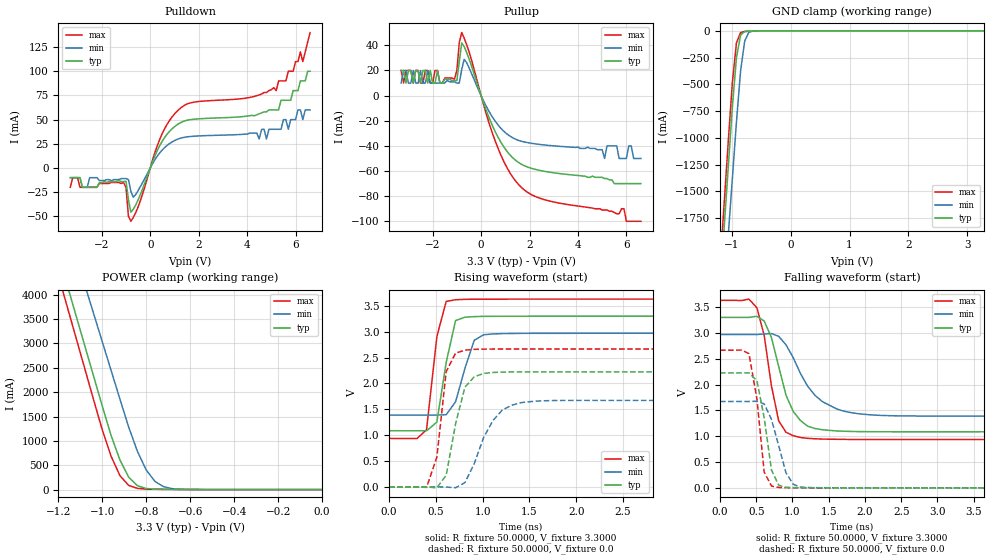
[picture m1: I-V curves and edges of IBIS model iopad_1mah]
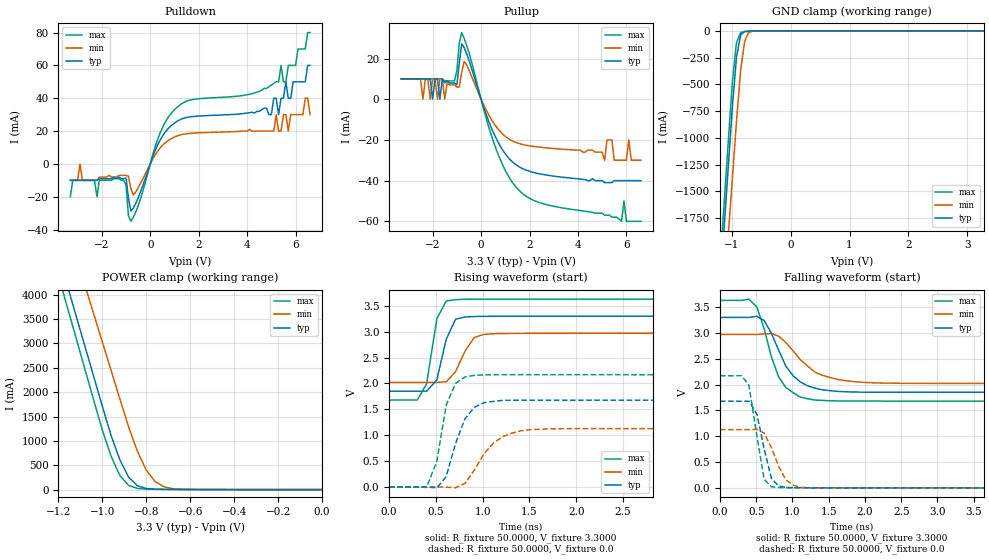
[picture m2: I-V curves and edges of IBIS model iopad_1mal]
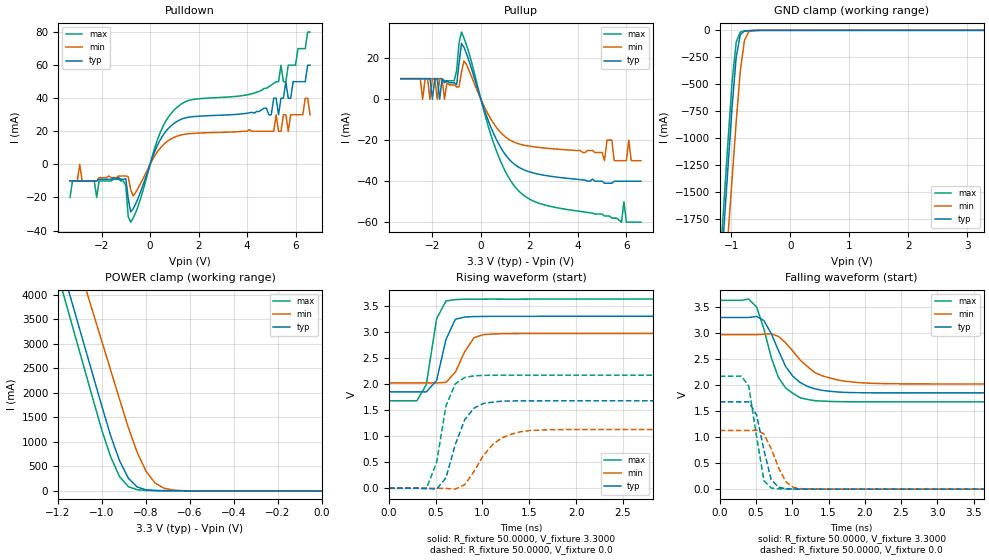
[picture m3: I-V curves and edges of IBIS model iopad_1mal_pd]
| IBIS file ip1001_33.ibs created by s2ibis3 verion 1.1
| North Carolina State University, ERL, 2006
[IBIS ver] 3.2
[File name] ip1001_33.ibs
[File Rev] 1.0
[Date]  2007 2 5
[Source] From IC Plus Inc.
[Notes]  File created by chang_dy.
[Disclaimer]  IC PLUS Corp. ("IC+") hereby grants the user of this
   IBIS model a non-exclusive, nontransferable license to use
   this IBIS model under the following terms. The user is granted
   this license only to use the IBIS model and is not granted
   rights to sell, copy (except as needed to run the IBIS model),
   rent, lease or sub-license the IBIS model in whole or in part,
   or in modified form to anyone. The User may modify the IBIS
   model to suit its specific applications, but rights to derivative
   works and such modifications shall belong to IC+. This
   IBIS model is provided on an AS IS" basis and IC+ makes absolutely
   no warranty with respect to the information contained
   herein. IC+ DISCLAIMS AND CUSTOMER WAIVES ALL WARRANTIES, EXPRESS
   AND IMPLIED, INCLUDING WARRANTIES OF MERCHANTABILITY AND
   FITNESS FOR A PARTICULAR PURPOSE. THE ENTIRE RISK AS TO QUALITY
   AND PERFORMANCE IS WITH THE USER ACCORDINGLY, IN NO EVENT
   SHALL IC+ BE LIABLE FOR ANY DIRECT OR INDIRECT DAMAGES, WHETHER
   IN CONTRACT OR TORT, INCLUDING ANY LOST PROFITS OR OTHER
   INCIDENTAL, CONSEQUENTIAL, EXEMPLARY, OR PUNITIVE DAMAGES ARISING
   OUT OF THE USE OR APPLICATION OF THE IBIS model. Further,
   IC+ reserves the right to make changes without notice to any
   product herein to improve
[Copyright] Copyright 2005, IC PLUS, Corp. all rights
|   Component IP1001
[Component] IP1001
[Manufacturer] IC PLUS Corp.
[Package]
| variable   typ   min   max
R_pkg   0.1500   0.1425   0.1575
L_pkg   1.9000nH   1.8050nH   1.9950nH
C_pkg   0.3500pF   0.3300pF   0.3700pF
[Pin]  signal_name   model_name   R_pin   L_pin   C_pin
1	TXD4		iopad_1mal
2	TXD5		iopad_1mal
3	DVDD		NC
4	TXD6		iopad_1mal
5	TXD7		iopad_1mal
6	TX_ER		iopad_1mal
7	CRS		iopad_1mal_pd
8	COL		iopad_1mal_pd
9	VDDO		POWER
10	CLK_OUT		iopad_12ma
11	MDC		iopad_1mal
12	MDIO		iopad_1mal
13	LED0		iopad_si_4ma
14	LED1		iopad_si_4ma
15	LED2		iopad_si_4ma
16	CTRL21		NC
17	R_SET		NC
18	MDI0P		NC
19	MDI0M		NC
20	AVDD		NC
21	MDI1P		NC
22	MDI1M		NC
23	AVDD		NC
24	AVDDH		NC
25	CAP		NC
26	MDI2P		NC
27	MDI2M		NC
28	AVDD		NC
29	MDI3P		NC
30	MDI3M		NC
31	AVDD		NC
32	CTRL12D		NC
33	X1		NC
34	X2		NC
35	RESET_		NC
36	RGMII_N		iopad_1mal_pd
37	NC_TEST		iopad_1mal_pd
38	DVDD		NC
39	RX_CLK		iopad_12ma
40	RX_DV		iopad_12ma
41	RXD0		iopad_12ma
42	RXD1		iopad_12ma
43	VDDO		POWER
44	RXD2		iopad_12ma
45	RXD3		iopad_12ma
46	DVDD		NC
47	VDDO		POWER
48	RXD4		iopad_12ma
49	RXD5		iopad_12ma
50	RXD6		iopad_12ma
51	RXD7		iopad_12ma
52	VDDO		POWER
53	RX_ER		iopad_12ma
54	DVDD		NC
55	TX_CLK		iopad_1mah
56	VDDO		POWER
57	GTX_CLK		iopad_1mal
58	TX_EN		iopad_1mal
59	TXD0		iopad_1mal
60	TXD1		iopad_1mal
61	TXD2		iopad_1mal
62	TXD3		iopad_1mal
63	DVDD		NC
64	VDDO		POWER
| Models and submodels in the file (9): iopad_1mah (I/O), iopad_1mal (I/O), iopad_1mal_pd (I/O), iopad_2ma (I/O), iopad_4ma (I/O), iopad_8ma (I/O), iopad_12ma (I/O), iopad_si_4ma (I/O), iopad_si_8ma (I/O)
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|   Model iopad_1mah
[Model]  iopad_1mah
Model_type I/O
Polarity   Non-Inverting
Enable   Active-Low
Vinl =   0.8000V
Vinh =   1.8000V
Vmeas =  1.2500V
C_comp   0.3000pF   0.2400pF   0.3600pF
[Temperature Range]   27.0000   100.0000   0.0
[Voltage Range]   3.3000V   2.9700V   3.6300V
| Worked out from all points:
|   slope of the pulldown table from 0 to 0.495 V, typ, clamps not added: 17.9 ohm
|   slope of the pullup table from 0 to 0.495 V, typ, clamps not added: 19.8 ohm
|   GND clamp passes 1 mA (typ) near -0.63 V on its own axis
|   POWER clamp passes 1 mA (typ) near -0.57 V on its own axis
|   rising waveform, R_fixture 50.0000, V_fixture 3.3000: 20-80 % time 132ps typ, 158ps min, 115ps max; typ from 1.08 V to 3.3 V
|   rising waveform, R_fixture 50.0000, V_fixture 0.0: 20-80 % time 157ps typ, 258ps min, 102ps max; typ from 0 V to 2.22 V
|   falling waveform, R_fixture 50.0000, V_fixture 3.3000: 20-80 % time 275ps typ, 426ps min, 200ps max; typ from 3.3 V to 1.08 V
|   falling waveform, R_fixture 50.0000, V_fixture 0.0: 20-80 % time 149ps typ, 195ps min, 136ps max; typ from 2.22 V to 0 V
[Pulldown]
|Voltage   I(typ)   I(min)   I(max)
-3.3V     -10mA      -10mA      -20mA
-1.1V     -14mA      -11mA      -15mA
-1V       -13.8mA    -11mA      -20.3mA
-900mV    -32.9mA    -12mA      -49.86mA
-800mV    -45.69mA   -24.1mA    -55.12mA
400mV     23.52mA    15.83mA    30.06mA
1.1V      44.55mA    29.42mA    58.46mA
5.2V      60mA       40mA       80mA
5.7V      70mA       40mA       100mA
6.2V      90mA       60mA       120mA
6.3V      90mA       50mA       110mA
6.6V      100mA      60mA       140mA
[Pullup]
|Voltage   I(typ)   I(min)   I(max)
-3.3V     20mA       10mA       20mA
-3.2V     20mA       20mA       10mA
-3.1V     10mA       20mA       20mA
-3V       20mA       10mA       20mA
-2.8V     10mA       20mA       10mA
-1.1V     12mA       11mA       13mA
-1V       12mA       10mA       20mA
-800mV    41.96mA    20.7mA     50.17mA
-600mV    34.6mA     26.41mA    40.77mA
600mV     -29.28mA   -20.76mA   -36.96mA
1.6V      -53.85mA   -35.94mA   -71.78mA
6.6V      -70mA      -50mA      -100mA
[GND_clamp]
|Voltage   I(typ)   I(min)   I(max)
-3.3V     -19.41A    -18.96A    -19.6A
-1.2V     -2.411A    -2.98A     -2.198A
-1.13V    -1.844A    -2.447A    -1.618A
-1.06V    -1.278A    -1.914A    -1.038A
-990mV    -713.1mA   -1.382A    -481.3mA
-920mV    -248.8mA   -849.4mA   -111.1mA
-850mV    -39.02mA   -373.5mA   -15.88mA
-780mV    -6.109mA   -94.67mA   -6.703mA
-710mV    -2.353mA   -14.34mA   -4.375mA
-640mV    -1.103mA   -2.066mA   -2.655mA
3.28V     43.51pA    3.97uA     -63.91pA
[POWER_clamp]
|Voltage   I(typ)   I(min)   I(max)
-3.28V    37.2A      36.47A     37.52A
-1.2V     4.828A     5.969A     4.4A
-1.16V    4.205A     5.382A     3.763A
-1.12V    3.582A     4.796A     3.126A
-1.08V    2.96A      4.209A     2.489A
-1.04V    2.337A     3.622A     1.852A
-960mV    1.113A     2.449A     685.8mA
-920mV    611.4mA    1.862A     288.4mA
-840mV    79.46mA    783.6mA    24.69mA
-760mV    7.994mA    166.4mA    7.074mA
-640mV    2.007mA    6.178mA    3.575mA
0V        106.5pA    303.7pA    167.4pA
[Ramp]
| variable   typ   min   max
dV/dt_r  1.3344/0.1570n   1.0032/0.2581n   1.5996/0.1013n
dV/dt_f  1.3290/0.2752n   0.9492/0.4259n   1.6162/0.2001n
R_load = 50.0000
[Rising Waveform]
R_fixture= 50.0000
V_fixture= 3.3000
V_fixture_min= 2.9700
V_fixture_max= 3.6300
|time   V(typ)   V(min)   V(max)
0s        1.085V     1.388V     936.4mV
300ps     1.085V     1.388V     937.1mV
400ps     1.085V     1.388V     1.107V
510ps     1.252V     1.388V     2.906V
610ps     2.409V     1.396V     3.586V
710ps     3.215V     1.645V     3.618V
810ps     3.281V     2.29V      3.626V
910ps     3.292V     2.835V     3.628V
1.11ns    3.298V     2.957V     3.629V
10ns      3.3V       2.97V      3.63V
[Rising Waveform]
R_fixture= 50.0000
V_fixture= 0.0
V_fixture_min= 0.0
V_fixture_max= 0.0
|time   V(typ)   V(min)   V(max)
0s        0V         0V         0V
400ps     615.2uV    -7.347uV   -10.03mV
510ps     -18.77mV   196uV      575.4mV
610ps     225.7mV    -3.302mV   2.23V
710ps     1.218V     -16.78mV   2.585V
810ps     1.928V     83.27mV    2.643V
1.11ns    2.212V     1.284V     2.665V
1.31ns    2.222V     1.579V     2.666V
1.52ns    2.222V     1.65V      2.666V
10ns      2.224V     1.672V     2.666V
[Falling Waveform]
R_fixture= 50.0000
V_fixture= 3.3000
V_fixture_min= 2.9700
V_fixture_max= 3.6300
|time   V(typ)   V(min)   V(max)
0s        3.3V       2.97V      3.63V
510ps     3.322V     2.969V     3.485V
610ps     3.23V      2.979V     2.951V
710ps     2.911V     2.988V     1.975V
810ps     2.352V     2.934V     1.298V
910ps     1.797V     2.771V     1.077V
1.11ns    1.304V     2.216V     975.4mV
1.41ns    1.126V     1.672V     944.9mV
2.12ns    1.087V     1.41V      936.5mV
10ns      1.085V     1.388V     936.3mV
[Falling Waveform]
R_fixture= 50.0000
V_fixture= 0.0
V_fixture_min= 0.0
V_fixture_max= 0.0
|time   V(typ)   V(min)   V(max)
0s        2.224V     1.672V     2.666V
400ps     2.226V     1.672V     2.597V
510ps     2.075V     1.677V     1.718V
610ps     1.358V     1.625V     304.7mV
710ps     348mV      1.328V     35.55mV
810ps     51.26mV    817.2mV    7.902mV
910ps     9.911mV    293.8mV    4.217mV
1.01ns    5.257mV    70.71mV    2.311mV
1.11ns    3.125mV    14.54mV    1.375mV
10ns      0V         0V         1.181uV
|   Model iopad_1mal
[Model]  iopad_1mal
Model_type I/O
Polarity   Non-Inverting
Enable   Active-Low
Vinl =   0.8000V
Vinh =   1.8000V
Vmeas =  1.2500V
C_comp   0.3000pF   0.2400pF   0.3600pF
[Temperature Range]   27.0000   100.0000   0.0
[Voltage Range]   3.3000V   2.9700V   3.6300V
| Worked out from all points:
|   slope of the pulldown table from 0 to 0.495 V, typ, clamps not added: 29.6 ohm
|   slope of the pullup table from 0 to 0.495 V, typ, clamps not added: 31 ohm
|   GND clamp passes 1 mA (typ) near -0.63 V on its own axis
|   POWER clamp passes 1 mA (typ) near -0.57 V on its own axis
|   rising waveform, R_fixture 50.0000, V_fixture 3.3000: 20-80 % time 131ps typ, 168ps min, 102ps max; typ from 1.85 V to 3.3 V
|   rising waveform, R_fixture 50.0000, V_fixture 0.0: 20-80 % time 191ps typ, 286ps min, 150ps max; typ from 0 V to 1.68 V
|   falling waveform, R_fixture 50.0000, V_fixture 3.3000: 20-80 % time 331ps typ, 429ps min, 276ps max; typ from 3.3 V to 1.85 V
|   falling waveform, R_fixture 50.0000, V_fixture 0.0: 20-80 % time 161ps typ, 217ps min, 150ps max; typ from 1.68 V to 0 V
[Pulldown]
|Voltage   I(typ)   I(min)   I(max)
-3.3V     -10mA      -10mA      -20mA
-1.1V     -9mA       -7mA       -10mA
-800mV    -28.77mA   -15.1mA    -34.95mA
1V        24.91mA    16.38mA    32.98mA
5.1V      40mA       20mA       49mA
5.2V      40mA       30mA       50mA
5.3V      30mA       20mA       50mA
5.6V      50mA       30mA       50mA
5.7V      40mA       20mA       60mA
5.8V      40mA       30mA       60mA
6.4V      50mA       40mA       70mA
6.6V      60mA       30mA       80mA
[Pullup]
|Voltage   I(typ)   I(min)   I(max)
-3.3V     10mA       10mA       10mA
-2.4V     10mA       0A         10mA
-1.7V     0A         10mA       10mA
-1.1V     8mA        7mA        9mA
-800mV    27.24mA    13.3mA     32.76mA
600mV     -18.69mA   -13.07mA   -23.83mA
1.5V      -32.69mA   -21.53mA   -43.96mA
5.8V      -40mA      -30mA      -60mA
5.9V      -40mA      -30mA      -50mA
6V        -40mA      -30mA      -60mA
6.1V      -40mA      -20mA      -60mA
6.6V      -40mA      -30mA      -60mA
[GND_clamp]
|Voltage   I(typ)   I(min)   I(max)
-3.3V     -19.41A    -18.96A    -19.6A
-1.2V     -2.411A    -2.98A     -2.198A
-1.13V    -1.844A    -2.447A    -1.618A
-1.06V    -1.278A    -1.914A    -1.038A
-990mV    -713.1mA   -1.382A    -481.3mA
-920mV    -248.8mA   -849.4mA   -111.1mA
-850mV    -39.02mA   -373.5mA   -15.88mA
-780mV    -6.109mA   -94.67mA   -6.703mA
-710mV    -2.353mA   -14.34mA   -4.375mA
-640mV    -1.103mA   -2.066mA   -2.655mA
3.28V     43.51pA    3.97uA     -63.91pA
[POWER_clamp]
|Voltage   I(typ)   I(min)   I(max)
-3.28V    37.2A      36.47A     37.52A
-1.2V     4.828A     5.969A     4.4A
-1.16V    4.205A     5.382A     3.763A
-1.12V    3.582A     4.796A     3.126A
-1.08V    2.96A      4.209A     2.489A
-1.04V    2.337A     3.622A     1.852A
-960mV    1.113A     2.449A     685.8mA
-920mV    611.4mA    1.862A     288.4mA
-840mV    79.46mA    783.6mA    24.69mA
-760mV    7.994mA    166.4mA    7.074mA
-640mV    2.007mA    6.178mA    3.575mA
0V        106.5pA    303.7pA    167.4pA
[Ramp]
| variable   typ   min   max
dV/dt_r  1.0068/0.1911n   0.6768/0.2863n   1.3026/0.1491n
dV/dt_f  0.8700/0.3310n   0.5688/0.4286n   1.1706/0.2762n
R_load = 50.0000
[Rising Waveform]
R_fixture= 50.0000
V_fixture= 3.3000
V_fixture_min= 2.9700
V_fixture_max= 3.6300
|time   V(typ)   V(min)   V(max)
0s        1.85V      2.022V     1.679V
300ps     1.85V      2.022V     1.68V
400ps     1.85V      2.022V     1.99V
510ps     2.069V     2.022V     3.253V
610ps     2.855V     2.032V     3.594V
710ps     3.242V     2.228V     3.62V
810ps     3.285V     2.622V     3.627V
910ps     3.294V     2.889V     3.629V
1.11ns    3.299V     2.96V      3.63V
10ns      3.3V       2.97V      3.63V
[Rising Waveform]
R_fixture= 50.0000
V_fixture= 0.0
V_fixture_min= 0.0
V_fixture_max= 0.0
|time   V(typ)   V(min)   V(max)
0s        0V         0V         0V
400ps     680uV      -7.109uV   -9.09mV
510ps     -17.12mV   197.9uV    497.6mV
610ps     202.2mV    -3.073mV   1.583V
710ps     842.7mV    -15.45mV   2.003V
810ps     1.316V     68.82mV    2.126V
910ps     1.538V     323.1mV    2.157V
1.21ns    1.673V     969.7mV    2.17V
1.52ns    1.677V     1.109V     2.17V
10ns      1.678V     1.128V     2.171V
[Falling Waveform]
R_fixture= 50.0000
V_fixture= 3.3000
V_fixture_min= 2.9700
V_fixture_max= 3.6300
|time   V(typ)   V(min)   V(max)
0s        3.3V       2.97V      3.63V
400ps     3.3V       2.97V      3.654V
510ps     3.321V     2.969V     3.5V
610ps     3.239V     2.98V      3.076V
710ps     2.992V     2.986V     2.535V
810ps     2.665V     2.937V     2.145V
1.01ns    2.168V     2.651V     1.84V
1.31ns    1.93V      2.241V     1.701V
2.22ns    1.851V     2.03V      1.68V
10ns      1.85V      2.022V     1.679V
[Falling Waveform]
R_fixture= 50.0000
V_fixture= 0.0
V_fixture_min= 0.0
V_fixture_max= 0.0
|time   V(typ)   V(min)   V(max)
0s        1.678V     1.128V     2.171V
300ps     1.677V     1.128V     2.172V
400ps     1.679V     1.127V     1.982V
510ps     1.423V     1.132V     997.9mV
610ps     751.8mV    1.06V      163.4mV
710ps     180.3mV    778.3mV    21.48mV
810ps     38.52mV    416.7mV    6.694mV
910ps     7.591mV    153.5mV    3.571mV
1.11ns    2.028mV    9.762mV    930.6uV
10ns      2.079uV    -3.533uV   -2.391uV
|   Model iopad_1mal_pd
[Model]  iopad_1mal_pd
Model_type I/O
Polarity   Non-Inverting
Enable   Active-Low
Vinl =   0.8000V
Vinh =   1.8000V
Vmeas =  1.2500V
C_comp   0.3000pF   0.2400pF   0.3600pF
[Temperature Range]   27.0000   100.0000   0.0
[Voltage Range]   3.3000V   2.9700V   3.6300V
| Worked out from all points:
|   slope of the pulldown table from 0 to 0.495 V, typ, clamps not added: 29.6 ohm
|   slope of the pullup table from 0 to 0.495 V, typ, clamps not added: 31 ohm
|   GND clamp passes 1 mA (typ) near -0.63 V on its own axis
|   POWER clamp passes 1 mA (typ) near -0.57 V on its own axis
|   rising waveform, R_fixture 50.0000, V_fixture 3.3000: 20-80 % time 131ps typ, 168ps min, 102ps max; typ from 1.85 V to 3.3 V
|   rising waveform, R_fixture 50.0000, V_fixture 0.0: 20-80 % time 191ps typ, 286ps min, 150ps max; typ from 0 V to 1.68 V
|   falling waveform, R_fixture 50.0000, V_fixture 3.3000: 20-80 % time 331ps typ, 429ps min, 276ps max; typ from 3.3 V to 1.85 V
|   falling waveform, R_fixture 50.0000, V_fixture 0.0: 20-80 % time 161ps typ, 214ps min, 150ps max; typ from 1.68 V to 0 V
[Pulldown]
|Voltage   I(typ)   I(min)   I(max)
-3.3V     -10mA      -10mA      -20mA
-1.1V     -9mA       -7mA       -10mA
-800mV    -28.77mA   -15.1mA    -34.94mA
1V        24.89mA    16.37mA    32.95mA
5.1V      40mA       20mA       49mA
5.2V      40mA       30mA       50mA
5.3V      30mA       20mA       50mA
5.6V      50mA       30mA       50mA
5.7V      40mA       20mA       60mA
5.8V      40mA       30mA       60mA
6.4V      50mA       40mA       70mA
6.6V      60mA       30mA       80mA
[Pullup]
|Voltage   I(typ)   I(min)   I(max)
-3.3V     10mA       10mA       10mA
-2.4V     10mA       0A         10mA
-1.7V     0A         10mA       10mA
-1.1V     8mA        7mA        9mA
-800mV    27.22mA    13.3mA     32.73mA
600mV     -18.72mA   -13.08mA   -23.87mA
1.5V      -32.72mA   -21.54mA   -44mA
5.8V      -40mA      -30mA      -60mA
5.9V      -40mA      -30mA      -50mA
6V        -40mA      -30mA      -60mA
6.1V      -40mA      -20mA      -60mA
6.6V      -40mA      -30mA      -60mA
[GND_clamp]
|Voltage   I(typ)   I(min)   I(max)
-3.3V     -19.41A    -18.96A    -19.6A
-1.2V     -2.411A    -2.98A     -2.198A
-1.13V    -1.844A    -2.447A    -1.618A
-1.06V    -1.278A    -1.914A    -1.038A
-990mV    -713.1mA   -1.382A    -481.3mA
-920mV    -248.8mA   -849.4mA   -111.1mA
-850mV    -39.03mA   -373.5mA   -15.89mA
-780mV    -6.114mA   -94.67mA   -6.707mA
-710mV    -2.359mA   -14.34mA   -4.38mA
-640mV    -1.11mA    -2.069mA   -2.661mA
3.28V     28.77uA    18.68uA    44.83uA
[POWER_clamp]
|Voltage   I(typ)   I(min)   I(max)
-3.28V    37.2A      36.47A     37.52A
-1.2V     4.828A     5.969A     4.4A
-1.16V    4.205A     5.382A     3.763A
-1.12V    3.582A     4.796A     3.126A
-1.08V    2.96A      4.209A     2.489A
-1.04V    2.337A     3.622A     1.852A
-960mV    1.113A     2.449A     685.8mA
-920mV    611.4mA    1.862A     288.5mA
-840mV    79.58mA    783.6mA    24.72mA
-760mV    8.015mA    166.4mA    7.116mA
-640mV    2.035mA    6.188mA    3.62mA
0V        28.77uA    14.71uA    44.87uA
[Ramp]
| variable   typ   min   max
dV/dt_r  1.0068/0.1911n   0.6768/0.2863n   1.3026/0.1491n
dV/dt_f  0.8700/0.3310n   0.5688/0.4286n   1.1706/0.2762n
R_load = 50.0000
[Rising Waveform]
R_fixture= 50.0000
V_fixture= 3.3000
V_fixture_min= 2.9700
V_fixture_max= 3.6300
|time   V(typ)   V(min)   V(max)
0s        1.85V      2.022V     1.679V
300ps     1.85V      2.022V     1.68V
400ps     1.85V      2.022V     1.99V
510ps     2.069V     2.022V     3.253V
610ps     2.855V     2.032V     3.594V
710ps     3.242V     2.228V     3.62V
810ps     3.285V     2.622V     3.627V
910ps     3.294V     2.889V     3.629V
1.11ns    3.299V     2.96V      3.63V
10ns      3.3V       2.97V      3.63V
[Rising Waveform]
R_fixture= 50.0000
V_fixture= 0.0
V_fixture_min= 0.0
V_fixture_max= 0.0
|time   V(typ)   V(min)   V(max)
0s        0V         0V         0V
400ps     680uV      -7.109uV   -9.09mV
510ps     -17.12mV   197.9uV    497.6mV
610ps     202.2mV    -3.073mV   1.583V
710ps     842.7mV    -15.45mV   2.003V
810ps     1.316V     68.82mV    2.126V
910ps     1.538V     323.1mV    2.157V
1.21ns    1.673V     969.7mV    2.17V
1.52ns    1.677V     1.109V     2.17V
10ns      1.678V     1.128V     2.171V
[Falling Waveform]
R_fixture= 50.0000
V_fixture= 3.3000
V_fixture_min= 2.9700
V_fixture_max= 3.6300
|time   V(typ)   V(min)   V(max)
0s        3.3V       2.97V      3.63V
400ps     3.3V       2.97V      3.654V
510ps     3.321V     2.969V     3.5V
610ps     3.239V     2.98V      3.076V
710ps     2.992V     2.986V     2.535V
810ps     2.665V     2.937V     2.145V
1.01ns    2.168V     2.651V     1.84V
1.31ns    1.93V      2.241V     1.701V
2.22ns    1.851V     2.03V      1.68V
10ns      1.85V      2.022V     1.679V
[Falling Waveform]
R_fixture= 50.0000
V_fixture= 0.0
V_fixture_min= 0.0
V_fixture_max= 0.0
|time   V(typ)   V(min)   V(max)
0s        1.678V     1.128V     2.171V
300ps     1.677V     1.128V     2.172V
400ps     1.679V     1.127V     1.982V
510ps     1.423V     1.132V     997.9mV
610ps     751.8mV    1.06V      163.4mV
710ps     180.3mV    778.4mV    21.48mV
810ps     38.52mV    416.8mV    6.694mV
910ps     7.591mV    142.9mV    3.571mV
1.11ns    2.028mV    10.05mV    930.6uV
10ns      2.079uV    1.364uV    -2.391uV
